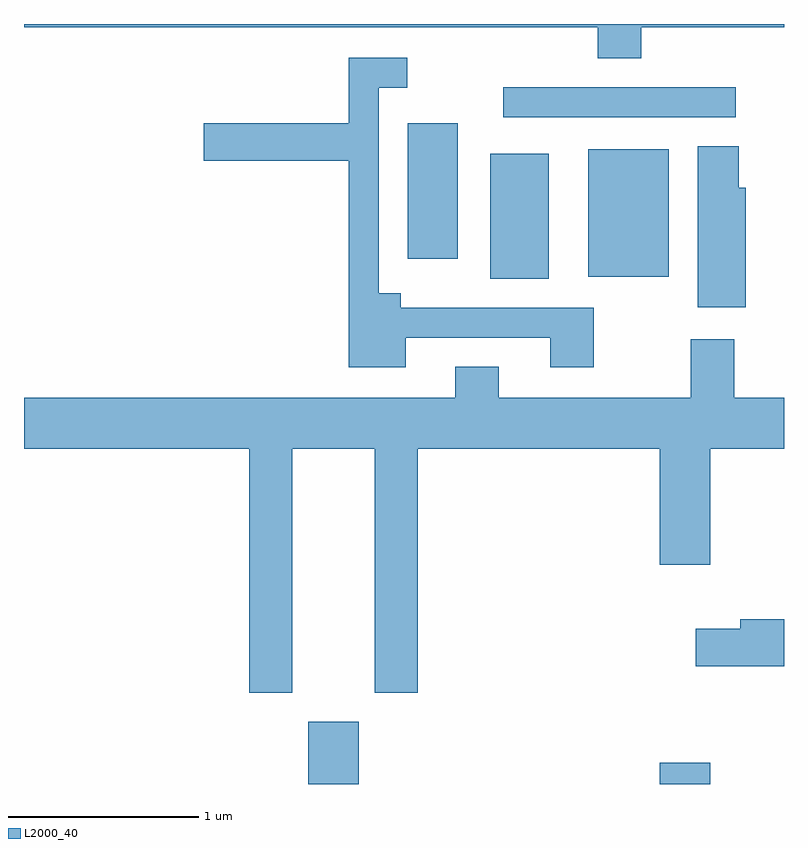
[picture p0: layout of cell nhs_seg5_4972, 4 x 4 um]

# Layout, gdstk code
import gdstk
lib = gdstk.Library(unit=1e-6, precision=1e-09)
def R(c, l, rs):  # rectangles x0, y0, x1, y1
    for r in rs: c.add(gdstk.rectangle(r[:2], r[2:], *l))
def P(c, l, *ps):  # polygons
    for p in ps: c.add(gdstk.Polygon(p, *l))
L2000_40 = (2000, 40)

nhs_seg5_4972 = lib.new_cell('nhs_seg5_4972')
R(nhs_seg5_4972, L2000_40, [(333.106,1526.072,333.374,1526.399), (334.956,1526.072,335.224,1526.184), (334.066,1528.731,334.374,1529.389), (334.581,1528.741,335.004,1529.414), (333.631,1528.836,333.894,1529.549), (334.133,1529.581,335.358,1529.739)])
P(nhs_seg5_4972, L2000_40, [(334.859,1530.056),(335.611,1530.056),(335.611,1530.072),(331.611,1530.072),(331.611,1530.056),(334.631,1530.056),(334.631,1529.891),(334.859,1529.891)],
  [(333.619,1528.421),(334.381,1528.421),(334.381,1528.266),(334.609,1528.266),(334.609,1528.579),(333.594,1528.579),(333.594,1528.654),(333.479,1528.654),(333.479,1529.736),(333.628,1529.736),(333.628,1529.894),(333.321,1529.894),(333.321,1529.549),(332.556,1529.549),(332.556,1529.351),(333.321,1529.351),(333.321,1528.266),(333.619,1528.266)],
  [(335.409,1529.209),(335.374,1529.209),(335.374,1529.429),(335.156,1529.429),(335.156,1528.581),(335.409,1528.581)],
  [(333.024,1527.836),(333.456,1527.836),(333.456,1526.551),(333.684,1526.551),(333.684,1527.836),(334.956,1527.836),(334.956,1527.226),(335.224,1527.226),(335.224,1527.836),(335.611,1527.836),(335.611,1528.104),(335.349,1528.104),(335.349,1528.414),(335.121,1528.414),(335.121,1528.104),(334.109,1528.104),(334.109,1528.269),(333.881,1528.269),(333.881,1528.104),(331.611,1528.104),(331.611,1527.836),(332.796,1527.836),(332.796,1526.551),(333.024,1526.551)],
  [(335.611,1526.939),(335.381,1526.939),(335.381,1526.889),(335.146,1526.889),(335.146,1526.691),(335.611,1526.691)])

lib.write_gds('nhs_seg5_4972.gds')
